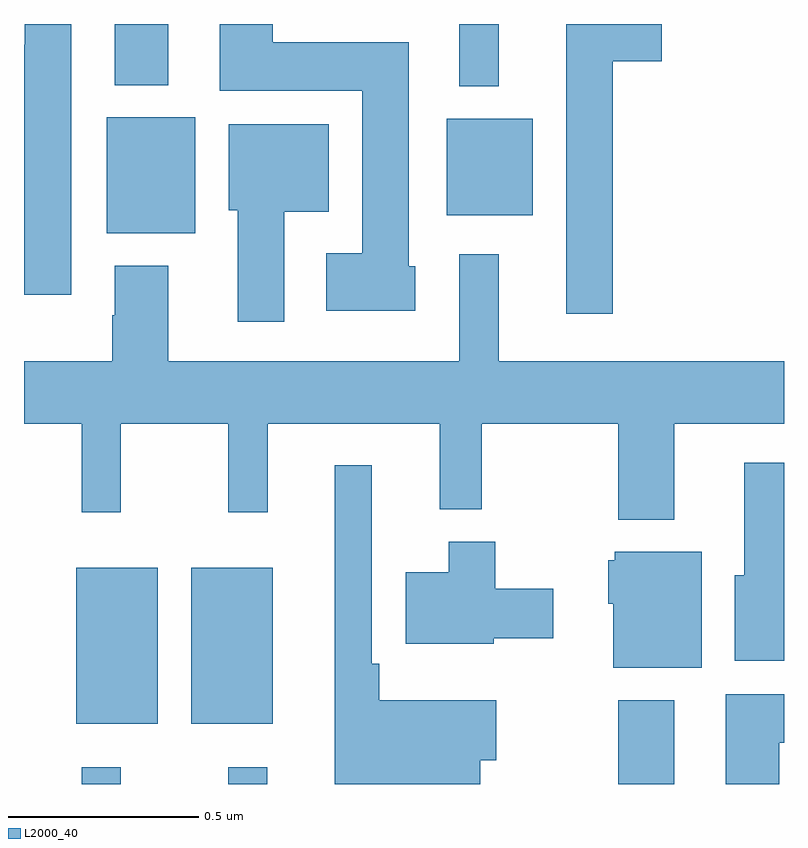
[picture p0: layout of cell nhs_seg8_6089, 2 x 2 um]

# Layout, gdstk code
import gdstk
lib = gdstk.Library(unit=1e-6, precision=1e-09)
def R(c, l, rs):  # rectangles x0, y0, x1, y1
    for r in rs: c.add(gdstk.rectangle(r[:2], r[2:], *l))
def P(c, l, *ps):  # polygons
    for p in ps: c.add(gdstk.Polygon(p, *l))
L2000_40 = (2000, 40)

nhs_seg8_6089 = lib.new_cell('nhs_seg8_6089')
R(nhs_seg8_6089, L2000_40, [(192.152,1100.9,192.254,1100.944), (192.538,1100.9,192.64,1100.944), (193.564,1100.9,193.711,1101.121), (192.137,1101.059,192.352,1101.469), (192.44,1101.059,192.655,1101.469), (192.218,1102.349,192.451,1102.654), (193.112,1102.397,193.339,1102.651), (193.145,1102.736,193.249,1102.9), (192.239,1102.739,192.379,1102.9)])
P(nhs_seg8_6089, L2000_40, [(193.549,1102.802),(193.678,1102.802),(193.678,1102.9),(193.427,1102.9),(193.427,1102.137),(193.549,1102.137)],
  [(193.03,1102.263),(193.012,1102.263),(193.012,1102.852),(192.655,1102.852),(192.655,1102.9),(192.515,1102.9),(192.515,1102.724),(192.89,1102.724),(192.89,1102.297),(192.795,1102.297),(192.795,1102.145),(193.03,1102.145)],
  [(192.124,1102.9),(192.002,1102.9),(192.002,1102.846),(192,1102.846),(192,1102.188),(192.124,1102.188)],
  [(192.685,1102.406),(192.802,1102.406),(192.802,1102.636),(192.539,1102.636),(192.539,1102.41),(192.563,1102.41),(192.563,1102.116),(192.685,1102.116)],
  [(193.711,1101.848),(194,1101.848),(194,1102.012),(193.249,1102.012),(193.249,1102.294),(193.145,1102.294),(193.145,1102.012),(192.379,1102.012),(192.379,1102.264),(192.239,1102.264),(192.239,1102.133),(192.232,1102.133),(192.232,1102.012),(192,1102.012),(192,1101.848),(192.152,1101.848),(192.152,1101.615),(192.254,1101.615),(192.254,1101.848),(192.538,1101.848),(192.538,1101.615),(192.641,1101.615),(192.641,1101.848),(193.094,1101.848),(193.094,1101.623),(193.204,1101.623),(193.204,1101.848),(193.564,1101.848),(193.564,1101.596),(193.711,1101.596)],
  [(194,1101.745),(193.895,1101.745),(193.895,1101.45),(193.871,1101.45),(193.871,1101.224),(194,1101.224)],
  [(193.201,1100.963),(193.243,1100.963),(193.243,1101.121),(192.935,1101.121),(192.935,1101.217),(192.915,1101.217),(192.915,1101.739),(192.818,1101.739),(192.818,1100.9),(193.201,1100.9)],
  [(193.236,1101.284),(193.393,1101.284),(193.393,1101.414),(193.24,1101.414),(193.24,1101.538),(193.118,1101.538),(193.118,1101.457),(193.004,1101.457),(193.004,1101.269),(193.236,1101.269)],
  [(193.783,1101.511),(193.554,1101.511),(193.554,1101.489),(193.538,1101.489),(193.538,1101.375),(193.55,1101.375),(193.55,1101.206),(193.783,1101.206)],
  [(193.987,1101.008),(194,1101.008),(194,1101.136),(193.847,1101.136),(193.847,1100.9),(193.987,1100.9)])

lib.write_gds('nhs_seg8_6089.gds')
